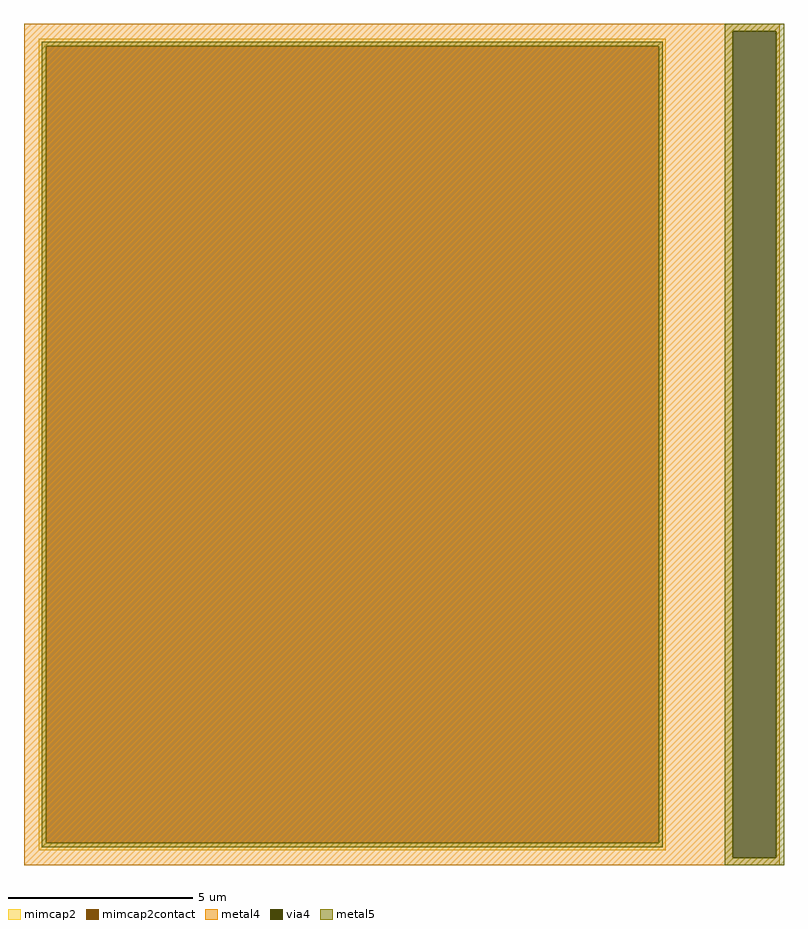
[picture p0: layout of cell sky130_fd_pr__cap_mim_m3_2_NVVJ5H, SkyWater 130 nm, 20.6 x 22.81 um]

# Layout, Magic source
magic
tech sky130A
magscale 1 2
<< metal4 >>
rect -2049 2239 2049 2280
rect -2049 -2239 1793 2239
rect 2029 -2239 2049 2239
rect -2049 -2280 2049 -2239
<< via4 >>
rect 1793 -2239 2029 2239
<< mimcap2 >>
rect -1969 2160 1431 2200
rect -1969 -2160 -1929 2160
rect 1391 -2160 1431 2160
rect -1969 -2200 1431 -2160
<< mimcap2contact >>
rect -1929 -2160 1391 2160
<< metal5 >>
rect 1751 2239 2071 2281
rect -1953 2160 1415 2184
rect -1953 -2160 -1929 2160
rect 1391 -2160 1415 2160
rect -1953 -2184 1415 -2160
rect 1751 -2239 1793 2239
rect 2029 -2239 2071 2239
rect 1751 -2281 2071 -2239
<< properties >>
string FIXED_BBOX -2049 -2280 1511 2280
string gencell sky130_fd_pr__cap_mim_m3_2
string library sky130
string parameters w 17 l 22 val 762.82 carea 2.00 cperi 0.19 nx 1 ny 1 dummy 0 square 0 lmin 2.00 wmin 2.00 lmax 30.0 wmax 30.0 dc 0 bconnect 1 tconnect 1 ccov 100
<< end >>
